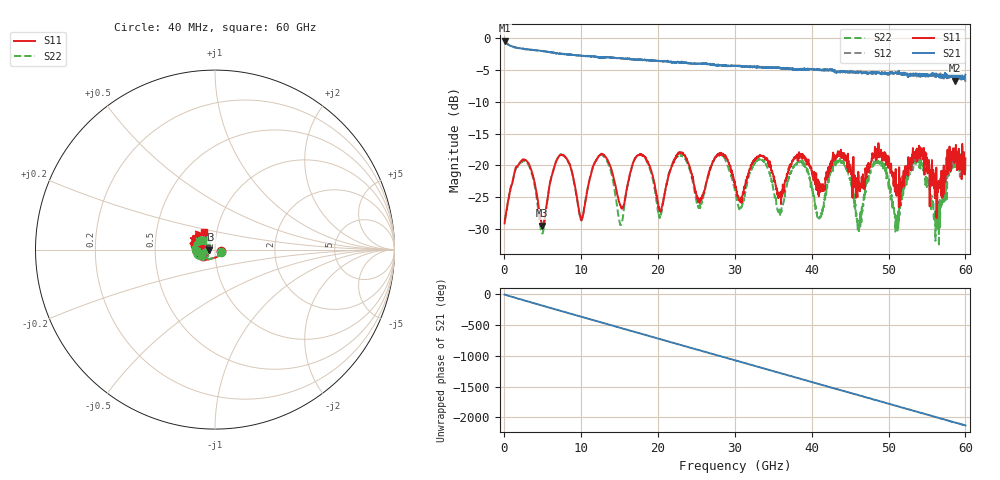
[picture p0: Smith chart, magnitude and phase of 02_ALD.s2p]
! File created by 'SoftPlot +Plus+ Measurement Management Software'
! SoftPlot +Plus+ Measurement Management Software
! Start 40.000000 MHz  Stop 60.000000 GHz  Points 1601
# MHZ S RI R 50
! S-Parameter data, F S11 S21 S12 S22
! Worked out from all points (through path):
!   1601 points, 40 MHz to 60 GHz, reference 50 ohm
!   highest |S21| = -0.38 dB at 40 MHz (marker M1); lowest = -6.7 dB at 58.69 GHz (marker M2)
!   group delay of S21, straight-line fit = 98.4 ps
!   lowest |S11| = -29.5 dB at 4.912 GHz (marker M3), VSWR 1.07, Z = 46.8 + j0.00515 ohm
!   |S11| at or under -10 dB: start of sweep to end of sweep
!   |S22| runs from -32.7 to -17.9 dB; largest |S21 - S12| = 0.07
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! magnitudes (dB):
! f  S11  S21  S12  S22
! 40 MHz  -29.1  -0.4  -0.4  -28.6
! 2.701 GHz  -19.2  -1.8  -1.7  -19.3
! 4.912 GHz  -29.5  -2.0  -2.0  -30.7
! 7.348 GHz  -18.4  -2.5  -2.5  -18.3
! 10.05 GHz  -28.6  -2.8  -2.8  -28.6
! 12.59 GHz  -18.2  -3.0  -3.0  -18.3
! 15.1 GHz  -26.2  -3.2  -3.2  -29.3
! 17.54 GHz  -18.4  -3.4  -3.4  -18.4
! 20.05 GHz  -26.6  -3.6  -3.6  -27.6
! 22.79 GHz  -18.0  -3.8  -3.8  -18.4
! 25.34 GHz  -25.3  -4.0  -4.1  -26.5
! 27.96 GHz  -18.5  -4.2  -4.2  -18.3
! 30.02 GHz  -22.6  -4.3  -4.3  -24.0
! 40.03 GHz  -20.9  -4.9  -4.9  -23.5
! 43.92 GHz  -18.2  -5.2  -5.3  -19.3
! 46.17 GHz  -22.6  -5.3  -5.4  -30.0
! 50.03 GHz  -19.8  -5.7  -5.7  -23.6
! 51.04 GHz  -24.8  -5.5  -5.6  -28.6
! 53.63 GHz  -17.5  -5.9  -5.6  -19.4
! 56.4 GHz  -24.2  -5.8  -5.8  -28.5
! 58.69 GHz  -18.5  -6.7  -5.7  -20.3
! 60 GHz  -18.9  -5.7  -6.9  -21.2
